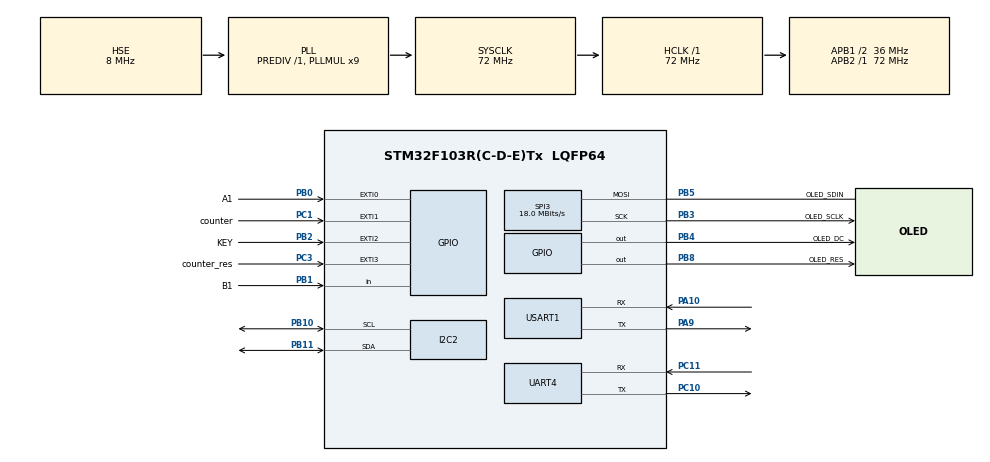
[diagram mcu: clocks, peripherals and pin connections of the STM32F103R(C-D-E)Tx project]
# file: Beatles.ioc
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Mcu.Family=STM32F1
Mcu.Name=STM32F103R(C-D-E)Tx
Mcu.Package=LQFP64
NVIC.EXTI0_IRQn=true\:0\:0\:false\:false\:true\:true\:true\:true
NVIC.EXTI1_IRQn=true\:3\:0\:true\:false\:true\:true\:true\:true
NVIC.EXTI2_IRQn=true\:0\:0\:true\:false\:true\:true\:true\:true
NVIC.EXTI3_IRQn=true\:1\:0\:true\:false\:true\:true\:true\:true
NVIC.PriorityGroup=NVIC_PRIORITYGROUP_4
NVIC.TIM2_IRQn=true\:0\:0\:false\:false\:true\:true\:true\:true
NVIC.UART4_IRQn=true\:2\:0\:true\:false\:true\:true\:true\:true
PA10.Mode=Asynchronous
PA10.Signal=USART1_RX
PA13.Mode=Serial_Wire
PA13.Signal=SYS_JTMS-SWDIO
PA14.Mode=Serial_Wire
PA14.Signal=SYS_JTCK-SWCLK
PA9.Mode=Asynchronous
PA9.Signal=USART1_TX
PB0.GPIO_Label=A1
PB0.Signal=GPXTI0
PB1.GPIO_Label=B1
PB1.Signal=GPIO_Input
PB10.Mode=I2C
PB10.Signal=I2C2_SCL
PB11.Mode=I2C
PB11.Signal=I2C2_SDA
PB2.GPIO_Label=KEY
PB2.GPIO_ModeDefaultEXTI=GPIO_MODE_IT_FALLING
PB2.Signal=GPXTI2
PB3.GPIO_Label=OLED_SCLK
PB3.Mode=Simplex_Bidirectional_Master
PB3.Signal=SPI3_SCK
PB4.GPIO_Label=OLED_DC
PB4.Signal=GPIO_Output
PB5.GPIO_Label=OLED_SDIN
PB5.Mode=Simplex_Bidirectional_Master
PB5.Signal=SPI3_MOSI
PB8.GPIO_Label=OLED_RES
PB8.Signal=GPIO_Output
PC1.GPIO_Label=counter
PC1.Signal=GPXTI1
PC10.Mode=Asynchronous
PC10.Signal=UART4_TX
PC11.Mode=Asynchronous
PC11.Signal=UART4_RX
PC3.GPIO_Label=counter_res
PC3.Signal=GPXTI3
PD0-OSC_IN.Mode=HSE-External-Oscillator
PD0-OSC_IN.Signal=RCC_OSC_IN
PD1-OSC_OUT.Mode=HSE-External-Oscillator
PD1-OSC_OUT.Signal=RCC_OSC_OUT
ProjectManager.HeapSize=0x200
ProjectManager.StackSize=0x400
ProjectManager.TargetToolchain=MDK-ARM V5.32
RCC.AHBFreq_Value=72000000
RCC.APB1CLKDivider=RCC_HCLK_DIV2
RCC.APB1Freq_Value=36000000
RCC.APB1TimFreq_Value=72000000
RCC.APB2Freq_Value=72000000
RCC.APB2TimFreq_Value=72000000
RCC.HCLKFreq_Value=72000000
RCC.PLLMUL=RCC_PLL_MUL9
RCC.PLLSourceVirtual=RCC_PLLSOURCE_HSE
RCC.SYSCLKFreq_VALUE=72000000
RCC.SYSCLKSource=RCC_SYSCLKSOURCE_PLLCLK
RCC.USBFreq_Value=72000000
SPI3.CalculateBaudRate=18.0 MBits/s
SPI3.Direction=SPI_DIRECTION_1LINE
SPI3.Mode=SPI_MODE_MASTER
SPI3.VirtualType=VM_MASTER
TIM2.AutoReloadPreload=TIM_AUTORELOAD_PRELOAD_ENABLE
TIM2.Period=9999
TIM2.Prescaler=7199
UART4.VirtualMode=Asynchronous
USART1.VirtualMode=VM_ASYNC
VP_TIM2_VS_ClockSourceINT.Mode=Internal
board=custom

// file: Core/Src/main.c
/* USER CODE BEGIN Header */
/**
  ******************************************************************************
  * @file           : main.c
  * @brief          : Main program body
  ******************************************************************************
  * @attention
  *
  * Copyright (c) 2026 STMicroelectronics.
  * All rights reserved.
  *
  * This software is licensed under terms that can be found in the LICENSE file
  * in the root directory of this software component.
  * If no LICENSE file comes with this software, it is provided AS-IS.
  *
  ******************************************************************************
  */
/* USER CODE END Header */
#include "main.h"
#include "i2c.h"
#include "spi.h"
#include "tim.h"
#include "usart.h"
#include "gpio.h"

/* USER CODE BEGIN Includes */
#include "sh1106oled.h"
#include "sh1106oledfont.h"
#include "GXHT31.h"
#include "WIFI.h"
#include "Encoder.h"
#include "counter.h"
#include <stdio.h>
#include <stdbool.h>

/* USER CODE END Includes */

void SystemClock_Config(void);

int main(void)
{

  /* MCU Configuration--------------------------------------------------------*/

  /* Reset of all peripherals, Initializes the Flash interface and the Systick. */
  HAL_Init();

  /* Configure the system clock */
  SystemClock_Config();

  /* Initialize all configured peripherals */
  MX_GPIO_Init();
  MX_SPI3_Init();
  MX_TIM2_Init();
  MX_I2C2_Init();
  MX_UART4_Init();
  MX_USART1_UART_Init();
  /* USER CODE BEGIN 2 */
	HAL_TIM_Base_Start_IT(&htim2);
	sh1106_init();          // OLED 初始化
  clr_oled_screen();     // 清屏
	WIFI_Init();
	uint32_t base_time=0;
	bool ntp_synced = false;
	for (int retry = 0; retry < 8; retry++) {
    if (Get_NPT(NULL)) {
        ntp_synced = true;
        break;
    }
	}
	if(ntp_synced){
			printf("NTP synced\r\n");
		}else{
			printf("NTP failed\r\n");
		}
	Init();
  /* USER CODE END 2 */

  /* Infinite loop */
  /* USER CODE BEGIN WHILE */
  while (1)
  {
		// 处理编码器、按键、菜单切换
    MENU_show();
    // 如果当前在功能运行状态，分发到对应 Process
    if (app_state == FUNC_RUN) {
        switch (current_func) {
            case 1: TEM_HUM_Process();     break;
            case 2: state_counter();       break;
            case 3: Clock_Process();       break;
            default: break;
        }
    }

    /* USER CODE END WHILE */

  }
}

void SystemClock_Config(void)
{
  RCC_OscInitTypeDef RCC_OscInitStruct = {0};
  RCC_ClkInitTypeDef RCC_ClkInitStruct = {0};

  /** Initializes the RCC Oscillators according to the specified parameters
  * in the RCC_OscInitTypeDef structure.
  */
  RCC_OscInitStruct.OscillatorType = RCC_OSCILLATORTYPE_HSE;
  RCC_OscInitStruct.HSEState = RCC_HSE_ON;
  RCC_OscInitStruct.HSEPredivValue = RCC_HSE_PREDIV_DIV1;
  RCC_OscInitStruct.HSIState = RCC_HSI_ON;
  RCC_OscInitStruct.PLL.PLLState = RCC_PLL_ON;
  RCC_OscInitStruct.PLL.PLLSource = RCC_PLLSOURCE_HSE;
  RCC_OscInitStruct.PLL.PLLMUL = RCC_PLL_MUL9;
  if (HAL_RCC_OscConfig(&RCC_OscInitStruct) != HAL_OK)
  {
    Error_Handler();
  }

  /** Initializes the CPU, AHB and APB buses clocks
  */
  RCC_ClkInitStruct.ClockType = RCC_CLOCKTYPE_HCLK|RCC_CLOCKTYPE_SYSCLK
                              |RCC_CLOCKTYPE_PCLK1|RCC_CLOCKTYPE_PCLK2;
  RCC_ClkInitStruct.SYSCLKSource = RCC_SYSCLKSOURCE_PLLCLK;
  RCC_ClkInitStruct.AHBCLKDivider = RCC_SYSCLK_DIV1;
  RCC_ClkInitStruct.APB1CLKDivider = RCC_HCLK_DIV2;
  RCC_ClkInitStruct.APB2CLKDivider = RCC_HCLK_DIV1;

  if (HAL_RCC_ClockConfig(&RCC_ClkInitStruct, FLASH_LATENCY_2) != HAL_OK)
  {
    Error_Handler();
  }
}

/* USER CODE BEGIN 4 */

int fputc(int ch,FILE *f)
{
	HAL_UART_Transmit(&huart1,(uint8_t *)&ch,1,0xff);
	return ch;
}
void HAL_TIM_PeriodElapsedCallback(TIM_HandleTypeDef *htim)
{
    if (htim->Instance == TIM2) {
        NPT_Increment();       // WiFi时钟自增
			if (counter_state == STATE_RUN) {
            CLOCK_Increment();  //计数器自增
					}
				}

}
void HAL_GPIO_EXTI_Callback(uint16_t GPIO_Pin)
{
		//封装好的编码器外部中断A1和按键
		GPIO_EXTI(GPIO_Pin);
		//子程序的外部中断
    if (GPIO_Pin == counter_Pin) {       // 假设 PC1 对应 PIN_1
        pc1_pressed = 1;
    } else if (GPIO_Pin == counter_res_Pin) { // 假设 PC2 对应 PIN_2
        pc2_pressed = 1;
    }
}
void HAL_UART_RxCpltCallback(UART_HandleTypeDef *huart)
{
	if(huart==&huart4){
		WIFI_Callback();
	}
}
/* USER CODE END 4 */

void Error_Handler(void)
{
  __disable_irq();
  while (1)
  {
  }
}
